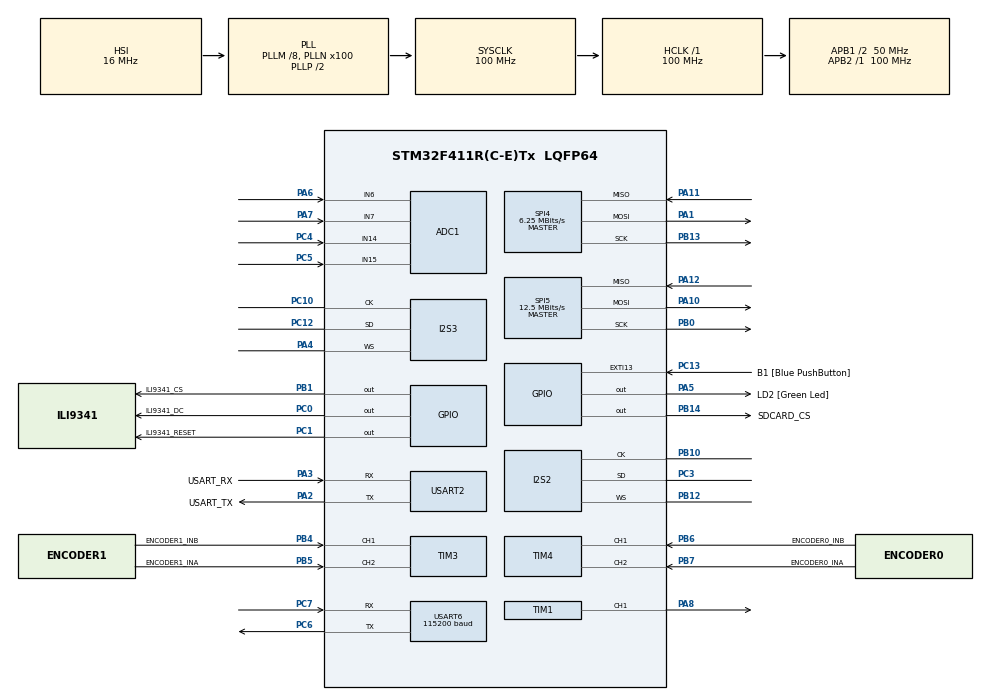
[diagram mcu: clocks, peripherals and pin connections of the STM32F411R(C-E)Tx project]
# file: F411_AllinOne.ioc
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ADC1.Channel-0\#ChannelRegularConversion=ADC_CHANNEL_6
ADC1.Channel-1\#ChannelRegularConversion=ADC_CHANNEL_7
ADC1.Channel-2\#ChannelRegularConversion=ADC_CHANNEL_14
ADC1.Channel-3\#ChannelRegularConversion=ADC_CHANNEL_15
ADC1.EnableAnalogWatchDog=true
ADC1.NbrOfConversion=4
ADC1.NbrOfConversionFlag=1
ADC1.Rank-0\#ChannelRegularConversion=1
ADC1.Rank-1\#ChannelRegularConversion=2
ADC1.Rank-2\#ChannelRegularConversion=3
ADC1.Rank-3\#ChannelRegularConversion=4
ADC1.SamplingTime-0\#ChannelRegularConversion=ADC_SAMPLETIME_3CYCLES
ADC1.SamplingTime-1\#ChannelRegularConversion=ADC_SAMPLETIME_3CYCLES
ADC1.SamplingTime-2\#ChannelRegularConversion=ADC_SAMPLETIME_3CYCLES
ADC1.SamplingTime-3\#ChannelRegularConversion=ADC_SAMPLETIME_3CYCLES
ADC1.ScanConvMode=ENABLE
ADC1.WatchdogChannel=ADC_CHANNEL_6
ADC1.master=1
Dma.ADC1.1.Direction=DMA_PERIPH_TO_MEMORY
Dma.ADC1.1.FIFOMode=DMA_FIFOMODE_DISABLE
Dma.ADC1.1.Instance=DMA2_Stream0
Dma.ADC1.1.MemDataAlignment=DMA_MDATAALIGN_HALFWORD
Dma.ADC1.1.MemInc=DMA_MINC_ENABLE
Dma.ADC1.1.Mode=DMA_NORMAL
Dma.ADC1.1.PeriphDataAlignment=DMA_PDATAALIGN_HALFWORD
Dma.ADC1.1.PeriphInc=DMA_PINC_DISABLE
Dma.ADC1.1.Priority=DMA_PRIORITY_LOW
Dma.Request0=SPI2_RX
Dma.Request1=ADC1
Dma.SPI2_RX.0.Direction=DMA_PERIPH_TO_MEMORY
Dma.SPI2_RX.0.FIFOMode=DMA_FIFOMODE_DISABLE
Dma.SPI2_RX.0.Instance=DMA1_Stream3
Dma.SPI2_RX.0.MemDataAlignment=DMA_MDATAALIGN_WORD
Dma.SPI2_RX.0.MemInc=DMA_MINC_ENABLE
Dma.SPI2_RX.0.Mode=DMA_CIRCULAR
Dma.SPI2_RX.0.PeriphDataAlignment=DMA_PDATAALIGN_WORD
Dma.SPI2_RX.0.PeriphInc=DMA_PINC_DISABLE
Dma.SPI2_RX.0.Priority=DMA_PRIORITY_LOW
FATFS._MAX_SS=4096
FATFS._USE_LFN=1
I2S2.AudioFreq=I2S_AUDIOFREQ_16K
I2S2.DataFormat=I2S_DATAFORMAT_24B
I2S2.ErrorAudioFreq=-0.26 %
I2S2.FullDuplexMode=I2S_FULLDUPLEXMODE_DISABLE
I2S2.Instance=SPI$Index
I2S2.Mode=I2S_MODE_MASTER_RX
I2S2.RealAudioFreq=15.957 KHz
I2S2.VirtualMode=I2S_MODE_MASTER
I2S3.AudioFreq=I2S_AUDIOFREQ_16K
I2S3.ErrorAudioFreq=-0.26 %
I2S3.FullDuplexMode=I2S_FULLDUPLEXMODE_DISABLE
I2S3.Instance=SPI$Index
I2S3.RealAudioFreq=15.957 KHz
I2S3.VirtualMode=I2S_MODE_MASTER
Mcu.Family=STM32F4
Mcu.Name=STM32F411R(C-E)Tx
Mcu.Package=LQFP64
NVIC.DMA1_Stream3_IRQn=true\:0\:0\:false\:false\:true\:false\:true\:true
NVIC.DMA2_Stream0_IRQn=true\:0\:0\:false\:false\:true\:false\:true\:true
NVIC.EXTI15_10_IRQn=true\:0\:0\:false\:false\:true\:true\:true\:true
NVIC.PriorityGroup=NVIC_PRIORITYGROUP_0
NVIC.TIM1_UP_TIM10_IRQn=true\:0\:0\:false\:false\:true\:true\:true\:true
NVIC.TIM2_IRQn=true\:0\:0\:false\:false\:true\:true\:true\:true
NVIC.USART6_IRQn=true\:0\:0\:false\:false\:true\:true\:true\:true
PA1.Mode=Full_Duplex_Master
PA1.Signal=SPI4_MOSI
PA10.Mode=Full_Duplex_Master
PA10.Signal=SPI5_MOSI
PA11.Mode=Full_Duplex_Master
PA11.Signal=SPI4_MISO
PA12.Mode=Full_Duplex_Master
PA12.Signal=SPI5_MISO
PA13.GPIO_Label=TMS
PA13.Mode=Serial_Wire
PA13.Signal=SYS_JTMS-SWDIO
PA14.GPIO_Label=TCK
PA14.Mode=Serial_Wire
PA14.Signal=SYS_JTCK-SWCLK
PA2.GPIO_Label=USART_TX
PA2.Mode=Asynchronous
PA2.Signal=USART2_TX
PA3.GPIO_Label=USART_RX
PA3.Mode=Asynchronous
PA3.Signal=USART2_RX
PA4.Mode=Half_Duplex_Master
PA4.Signal=I2S3_WS
PA5.GPIO_Label=LD2 [Green Led]
PA5.Signal=GPIO_Output
PA6.Signal=ADCx_IN6
PA7.Signal=ADCx_IN7
PA8.Signal=S_TIM1_CH1
PB0.Mode=Full_Duplex_Master
PB0.Signal=SPI5_SCK
PB1.GPIO_Label=ILI9341_CS
PB1.PinState=GPIO_PIN_SET
PB1.Signal=GPIO_Output
PB10.Mode=Half_Duplex_Master
PB10.Signal=I2S2_CK
PB12.Mode=Half_Duplex_Master
PB12.Signal=I2S2_WS
PB13.Mode=Full_Duplex_Master
PB13.Signal=SPI4_SCK
PB14.GPIO_Label=SDCARD_CS
PB14.PinState=GPIO_PIN_SET
PB14.Signal=GPIO_Output
PB3.GPIO_Label=SWO
PB3.Signal=SYS_JTDO-SWO
PB4.GPIO_Label=ENCODER1_INB
PB4.Signal=S_TIM3_CH1
PB5.GPIO_Label=ENCODER1_INA
PB5.Signal=S_TIM3_CH2
PB6.GPIO_Label=ENCODER0_INB
PB6.Signal=S_TIM4_CH1
PB7.GPIO_Label=ENCODER0_INA
PB7.Signal=S_TIM4_CH2
PC0.GPIO_Label=ILI9341_DC
PC0.Signal=GPIO_Output
PC1.GPIO_Label=ILI9341_RESET
PC1.Signal=GPIO_Output
PC10.Mode=Half_Duplex_Master
PC10.Signal=I2S3_CK
PC12.Mode=Half_Duplex_Master
PC12.Signal=I2S3_SD
PC13-ANTI_TAMP.GPIO_Label=B1 [Blue PushButton]
PC13-ANTI_TAMP.GPIO_ModeDefaultEXTI=GPIO_MODE_IT_FALLING
PC13-ANTI_TAMP.Signal=GPXTI13
PC14-OSC32_IN.Mode=LSE-External-Oscillator
PC14-OSC32_IN.Signal=RCC_OSC32_IN
PC15-OSC32_OUT.Mode=LSE-External-Oscillator
PC15-OSC32_OUT.Signal=RCC_OSC32_OUT
PC3.Mode=Half_Duplex_Master
PC3.Signal=I2S2_SD
PC4.Signal=ADCx_IN14
PC5.Signal=ADCx_IN15
PC6.Mode=Asynchronous
PC6.Signal=USART6_TX
PC7.Mode=Asynchronous
PC7.Signal=USART6_RX
PH0\ -\ OSC_IN.Mode=HSE-External-Clock-Source
PH0\ -\ OSC_IN.Signal=RCC_OSC_IN
PH1\ -\ OSC_OUT.Mode=HSE-External-Clock-Source
PH1\ -\ OSC_OUT.Signal=RCC_OSC_OUT
ProjectManager.HeapSize=0x800
ProjectManager.StackSize=0x800
ProjectManager.TargetToolchain=STM32CubeIDE
RCC.48MHZClocksFreq_Value=28571428.57142857
RCC.AHBFreq_Value=100000000
RCC.APB1CLKDivider=RCC_HCLK_DIV2
RCC.APB1Freq_Value=50000000
RCC.APB1TimFreq_Value=100000000
RCC.APB2Freq_Value=100000000
RCC.APB2TimFreq_Value=100000000
RCC.CortexFreq_Value=100000000
RCC.FLatency-AdvancedSettings=FLASH_LATENCY_3
RCC.HCLKFreq_Value=100000000
RCC.HSE_VALUE=8000000
RCC.HSI_VALUE=16000000
RCC.PLLM=8
RCC.PLLMUL=RCC_PLL_MUL9
RCC.PLLN=100
RCC.PLLQ=7
RCC.RCC_PLLsource_Clock_Source_FROM_HSE=RCC_HSE_PREDIV_DIV2
RCC.SYSCLKFreq_VALUE=100000000
RCC.SYSCLKSource=RCC_SYSCLKSOURCE_PLLCLK
RCC.SYSCLKSourceVirtual=RCC_SYSCLKSOURCE_PLLCLK
RCC.VCOOutputFreq_Value=200000000
SH.ADCx_IN14.0=ADC1_IN14,IN14
SH.ADCx_IN15.0=ADC1_IN15,IN15
SH.ADCx_IN6.0=ADC1_IN6,IN6
SH.ADCx_IN7.0=ADC1_IN7,IN7
SH.S_TIM1_CH1.0=TIM1_CH1,PWM Generation1 CH1
SH.S_TIM3_CH1.0=TIM3_CH1,Encoder_Interface
SH.S_TIM3_CH2.0=TIM3_CH2,Encoder_Interface
SH.S_TIM4_CH1.0=TIM4_CH1,Encoder_Interface
SH.S_TIM4_CH2.0=TIM4_CH2,Encoder_Interface
SPI4.BaudRatePrescaler=SPI_BAUDRATEPRESCALER_16
SPI4.CalculateBaudRate=6.25 MBits/s
SPI4.Direction=SPI_DIRECTION_2LINES
SPI4.Mode=SPI_MODE_MASTER
SPI4.VirtualType=VM_MASTER
SPI5.BaudRatePrescaler=SPI_BAUDRATEPRESCALER_8
SPI5.CalculateBaudRate=12.5 MBits/s
SPI5.Direction=SPI_DIRECTION_2LINES
SPI5.Mode=SPI_MODE_MASTER
SPI5.VirtualType=VM_MASTER
STMicroelectronics.X-CUBE-AI.10.2.0.ActivationBufferSizeList=2676
STMicroelectronics.X-CUBE-AI.10.2.0.ActivationBuffers=NULL
STMicroelectronics.X-CUBE-AI.10.2.0.HeapSize=0x800
STMicroelectronics.X-CUBE-AI.10.2.0.InternalRamActivationBufferMaxSize=AI_NETWORK_1754532848284_DATA_ACTIVATIONS_SIZE
STMicroelectronics.X-CUBE-AI.10.2.0.LatestDirectoryUsed-c312f060511643492c0cf235e68c8f3fd7d584fa476fa2af0e574bf5eae4642f=D\:\\Work_202506\\Git\\PY_Audio
STMicroelectronics.X-CUBE-AI.10.2.0.MaximumNumberOfInputLayer=1
STMicroelectronics.X-CUBE-AI.10.2.0.MaximumNumberOfOutputLayer=1
STMicroelectronics.X-CUBE-AI.10.2.0.MaximumSizeOfInputLayer=1
STMicroelectronics.X-CUBE-AI.10.2.0.MaximumSizeOfOutputLayer=1
STMicroelectronics.X-CUBE-AI.10.2.0.ModelActualCompression-c312f060511643492c0cf235e68c8f3fd7d584fa476fa2af0e574bf5eae4642f=0.0
STMicroelectronics.X-CUBE-AI.10.2.0.ModelCompression-c312f060511643492c0cf235e68c8f3fd7d584fa476fa2af0e574bf5eae4642f=None
STMicroelectronics.X-CUBE-AI.10.2.0.ModelFlashOccupation-c312f060511643492c0cf235e68c8f3fd7d584fa476fa2af0e574bf5eae4642f=16016
STMicroelectronics.X-CUBE-AI.10.2.0.ModelHashList=c312f060511643492c0cf235e68c8f3fd7d584fa476fa2af0e574bf5eae4642f
STMicroelectronics.X-CUBE-AI.10.2.0.ModelKind-c312f060511643492c0cf235e68c8f3fd7d584fa476fa2af0e574bf5eae4642f=TFLITE
STMicroelectronics.X-CUBE-AI.10.2.0.ModelMacc-c312f060511643492c0cf235e68c8f3fd7d584fa476fa2af0e574bf5eae4642f=1328
STMicroelectronics.X-CUBE-AI.10.2.0.ModelName-c312f060511643492c0cf235e68c8f3fd7d584fa476fa2af0e574bf5eae4642f=network_1754532848284
STMicroelectronics.X-CUBE-AI.10.2.0.ModelNameList=network_1754532848284
STMicroelectronics.X-CUBE-AI.10.2.0.ModelRamOccupation-c312f060511643492c0cf235e68c8f3fd7d584fa476fa2af0e574bf5eae4642f=2676
STMicroelectronics.X-CUBE-AI.10.2.0.ModelStructureFile-c312f060511643492c0cf235e68c8f3fd7d584fa476fa2af0e574bf5eae4642f=D\:\\Work_202506\\Git\\PY_Audio\\score_model.tflite
STMicroelectronics.X-CUBE-AI.10.2.0.ModelType-c312f060511643492c0cf235e68c8f3fd7d584fa476fa2af0e574bf5eae4642f=STM32Cube.AI MCU runtime
STMicroelectronics.X-CUBE-AI.10.2.0.ReadyForCodeGeneration=true
STMicroelectronics.X-CUBE-AI.10.2.0.StackSize=0x800
STMicroelectronics.X-CUBE-AI.10.2.0.WorkingBufferStartAddrList=0xFFFFFFFF
STMicroelectronics.X-CUBE-AI.10.2.0.copyWeightToRam-c312f060511643492c0cf235e68c8f3fd7d584fa476fa2af0e574bf5eae4642f=false
STMicroelectronics.X-CUBE-AI.10.2.0.customLayerConfigEnabled-c312f060511643492c0cf235e68c8f3fd7d584fa476fa2af0e574bf5eae4642f=false
STMicroelectronics.X-CUBE-AI.10.2.0.noOnnxIoTranspose-c312f060511643492c0cf235e68c8f3fd7d584fa476fa2af0e574bf5eae4642f=false
STMicroelectronics.X-CUBE-AI.10.2.0.useInputAllocation-c312f060511643492c0cf235e68c8f3fd7d584fa476fa2af0e574bf5eae4642f=true
STMicroelectronics.X-CUBE-AI.10.2.0.useOutputAllocation-c312f060511643492c0cf235e68c8f3fd7d584fa476fa2af0e574bf5eae4642f=true
TIM1.Channel-PWM\ Generation1\ CH1=TIM_CHANNEL_1
TIM1.Period=1000-1
TIM1.Prescaler=100-1
TIM1.Pulse-PWM\ Generation1\ CH1=500
TIM10.Period=288-1
TIM2.Period=32-1
TIM2.Prescaler=100-1
USART2.VirtualMode=VM_ASYNC
USART6.BaudRate=115200
USART6.VirtualMode=VM_ASYNC
VP_CRC_VS_CRC.Mode=CRC_Activate
VP_FATFS_VS_Generic.Mode=User_defined
VP_TIM10_VS_ClockSourceINT.Mode=Enable_Timer
VP_TIM1_VS_ClockSourceINT.Mode=Internal
VP_TIM2_VS_ClockSourceINT.Mode=Internal
board=NUCLEO-F411RE

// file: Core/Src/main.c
/* USER CODE BEGIN Header */
/**
  ******************************************************************************
  * @file           : main.c
  * @brief          : Main program body
  ******************************************************************************
  * @attention
  *
  * Copyright (c) 2025 STMicroelectronics.
  * All rights reserved.
  *
  * This software is licensed under terms that can be found in the LICENSE file
  * in the root directory of this software component.
  * If no LICENSE file comes with this software, it is provided AS-IS.
  *
  ******************************************************************************
  */
/* USER CODE END Header */
#include "main.h"
#include "adc.h"
#include "crc.h"
#include "dma.h"
#include "fatfs.h"
#include "i2s.h"
#include "spi.h"
#include "tim.h"
#include "usart.h"
#include "gpio.h"

/* USER CODE BEGIN Includes */
#include <stdio.h>
#include <stdlib.h>  // 用於 rand() 隨機數
#include <sys/unistd.h>
//#include "app_x-cube-ai.h"
#include <stdbool.h> // <-- 請在這裡加入這一行
#include "helloworld.h"

#include "ili9341.h"
#include "oscilloscope.h"
#include "fatfs.h"
/* USER CODE END Includes */

/* USER CODE BEGIN PD */
#define DWT_CONTROL *(volatile unsigned long *)0xE0001000
#define SCB_DEMCR   *(volatile unsigned long *)0xE000EDFC
/* USER CODE END PD */

/* USER CODE BEGIN PM */
FATFS fs;
FATFS *pfs;
FIL fil;
FRESULT fres;
DWORD fre_clust;
uint32_t totalSpace, freeSpace;
char buffer[100];
/* USER CODE END PM */

/* USER CODE BEGIN PV */
ILI9341TypeDef display;
/* USER CODE END PV */

void SystemClock_Config(void);
void PeriphCommonClock_Config(void);

/* USER CODE BEGIN 0 */
// 讓 printf 可以透過 UART2 輸出，方便除錯
//#ifdef __GNUC__
//#define PUTCHAR_PROTOTYPE int __io_putchar(int ch)
//#else
//#define PUTCHAR_PROTOTYPE int fputc(int ch, FILE *f)
//#endif
//
//PUTCHAR_PROTOTYPE
//{
//  HAL_UART_Transmit(&huart6, (uint8_t *)&ch, 1, HAL_MAX_DELAY);
//  return ch;
//}
//
//int _write(int file, char *ptr, int len)
//{
//    HAL_UART_Transmit(&huart6, (uint8_t*)ptr, len, 100);
//    return len;
//}

#define I2S_BUFFER_SIZE 4//2048 // 緩衝區大小，需要根據模型要求調整

// 定義一個32位元的緩衝區來接收 I2S 資料 (24-bit data in 32-bit frame)
uint32_t i2s_rx_buffer[I2S_BUFFER_SIZE];
// 用於標示哪個緩衝區已滿可以處理
volatile int buffer_is_ready = 0;

unsigned cb_cnt=0;
uint32_t val24;
int val32;

/**
  * @brief  I2S 接收半滿回呼函式
  * @param  hi2s: I2S handle
  * @retval None
  */
void HAL_I2S_RxHalfCpltCallback(I2S_HandleTypeDef *hi2s)
{
  // DMA 已經填充完緩衝區的前半部分
  // 在這裡呼叫語音辨識函式，處理前半段的資料
  // speech_recognition_run(&i2s_rx_buffer[0], I2S_BUFFER_SIZE / 2);
  buffer_is_ready = 1; // 示意：設定旗標
	if(hi2s==&hi2s2){
		cb_cnt++;//回调次数计数
		//将两个32整型合并为一个
		//dat32 example: 0000fffb 00004f00
		//printf("%x\r\n",data_i2s[0]<<8);
		//printf("%x\r\n",data_i2s[1]>>8);

		val24=(i2s_rx_buffer[0]<<8)+(i2s_rx_buffer[1]>>8);
		//printf("%d\r\n",val24);
      //将24位有符号整型扩展到32位
		if(val24 & 0x800000)
		{//negative
			val32=0xff000000 | val24;
		}
		else
		{//positive
			val32=val24;
		}
		//以采样频率的十分之一，串口发送采样值
		if(cb_cnt%10==0)
			printf("%d\r\n",val32);
	}
}

/**
  * @brief  I2S 接收全滿回呼函式
  * @param  hi2s: I2S handle
  * @retval None
  */
void HAL_I2S_RxCpltCallback(I2S_HandleTypeDef *hi2s)
{
  // DMA 已經填充完緩衝區的後半部分
  // 在這裡呼叫語音辨識函式，處理後半段的資料
  // speech_recognition_run(&i2s_rx_buffer[I2S_BUFFER_SIZE / 2], I2S_BUFFER_SIZE / 2);
  buffer_is_ready = 2; // 示意：設定旗標
	if(hi2s==&hi2s2){
		cb_cnt++;//回调次数计数
		//将两个32整型合并为一个
		//dat32 example: 0000fffb 00004f00
		//printf("%x\r\n",data_i2s[0]<<8);
		//printf("%x\r\n",data_i2s[1]>>8);

		val24=(i2s_rx_buffer[0]<<8)+(i2s_rx_buffer[1]>>8);
		//printf("%d\r\n",val24);
      //将24位有符号整型扩展到32位
		if(val24 & 0x800000)
		{//negative
			val32=0xff000000 | val24;
		}
		else
		{//positive
			val32=val24;
		}
		//以采样频率的十分之一，串口发送采样值
		if(cb_cnt%10==0)
			printf("%d\r\n",val32);
	}
}

// 假設這是一個讀取感測器數據的函式 (您需要自己實現)
float get_sensor_reading(void)
{
    // 在這裡填寫您獲取真實數據的程式碼
    // 例如：從 ADC 讀取數據並轉換成浮點數
    // 此處僅為範例，回傳一個隨機變化的值
    return 150.0f + (float)(rand() % 50);
}

// --- UART 接收相關變數 ---
#define UART_RX_BUFFER_SIZE 10
uint8_t uart_rx_buffer[UART_RX_BUFFER_SIZE]; // 用於儲存從 UART 收到的原始字元
uint8_t rx_byte; // 用於 HAL 函式，儲存單個接收位元組

volatile uint8_t uart_rx_index = 0; // 目前接收到緩衝區的位置
volatile bool new_data_received = false; // 新數據接收完成的旗標

// --- AI 推論相關變數 ---
// 這個變數將連接 main.c 和 app_x-cube-ai.c
int score_from_uart = 0;

void HAL_UART_RxCpltCallback(UART_HandleTypeDef *huart)
{
  // 確保是我們想要的 UART (例如 USART2) 觸發的中斷
  if (huart->Instance == USART6)
  {
    // 檢查是否是換行符 (Enter 鍵)，或者緩衝區是否已滿
    if (rx_byte == '\r' || rx_byte == '\n' || uart_rx_index >= (UART_RX_BUFFER_SIZE - 1))
    {
      // 1. 在字串末尾加上結束符 '\0'
      uart_rx_buffer[uart_rx_index] = '\0';

      // 2. 設定新數據旗標，通知主迴圈處理
      if (uart_rx_index > 0) // 確保不是空指令
      {
        new_data_received = true;
      }

      // 3. 重置索引，準備下一次接收
      uart_rx_index = 0;
    }
    else
    {
      // 將收到的位元組存入緩衝區，並移動索引
      uart_rx_buffer[uart_rx_index++] = rx_byte;
    }

    // !!! 非常重要：重新啟動 UART 中斷接收，準備接收下一個位元組 !!!
    HAL_UART_Receive_IT(&huart6, &rx_byte, 1);
  }
}

uint16_t txData;
int txIndex;
void HAL_TIM_PeriodElapsedCallback(TIM_HandleTypeDef *htim)
{
  if(htim->Instance == TIM2)
  {
    txData = ((uint16_t)helloworld[txIndex+1] << 8) | helloworld[txIndex];
    txIndex = txIndex + 2;
    if(txIndex>53456) txIndex = 0;
    HAL_I2S_Transmit(&hi2s3, &txData, 1, 10);
  }

	if(htim->Instance == TIM10)
	{
		if (adc_available) {
			adc_available = 0;
			HAL_ADC_Start_DMA(&hadc1, (uint32_t*)&adc_data, 2);
		}
	}
}

void HAL_ADC_ConvCpltCallback(ADC_HandleTypeDef* hadc)
{
    if(hadc->Instance == ADC1)
    {
    	if (adc_reset_cyccnt) {
    		DWT->CYCCNT = 0U;
    		adc0_time_delta = 0;
    		adc1_time_delta = 0;
    		adc_reset_cyccnt = 0;
    	}

    	if (!adc0_filled) {
			adc0_time[adc0_length] = (DWT->CYCCNT - adc0_time_delta) / (SystemCoreClock / 1000000);
			adc0[adc0_length] = adc_data[0] * ADC_CHANNEL0_SCALE;

			if (adc_max[0] < adc0[adc0_length])
				adc_max[0] = adc0[adc0_length];

			if (adc_min[0] > adc0[adc0_length])
				adc_min[0] = adc0[adc0_length];

			if (adc0_length < (ADC_BUFFER_SIZE - 1)) {

				uint8_t trigger = 0;

				if (trigger_mode == 0)
					trigger = (adc0_prev < trigger0_value && adc0[adc0_length] > trigger0_value);
				else
					trigger = (adc0_prev > trigger0_value && adc0[adc0_length] < trigger0_value);

				if (trigger && adc0_length != 0) {
					if (!event_trigger0_detected) {
						adc0_length = 0;
						adc0_time_delta = DWT->CYCCNT;
						event_trigger0_detected = 1;
					} else if (!adc_period0_detected) {
						adc_period[0] = adc0_time[adc0_length];
						adc_period0_detected = 1;
					}
				}

				adc0_prev = adc_data[0] * ADC_CHANNEL0_SCALE;
				adc0_length++;

			} else
				adc0_filled = 1;
    	}

    	if (!adc1_filled) {
			adc1_time[adc1_length] = (DWT->CYCCNT - adc1_time_delta) / (SystemCoreClock / 1000000);
			adc1[adc1_length] = adc_data[1] * ADC_CHANNEL1_SCALE;

			if (adc_max[1] < adc1[adc1_length])
				adc_max[1] = adc1[adc1_length];

			if (adc_min[1] > adc1[adc1_length])
				adc_min[1] = adc1[adc1_length];

			if (adc1_length < (ADC_BUFFER_SIZE - 1)) {

				uint8_t trigger = 0;

				if (trigger_mode == 0)
					trigger = (adc1_prev < trigger1_value && adc1[adc1_length] > trigger1_value);
				else
					trigger = (adc1_prev > trigger1_value && adc1[adc1_length] < trigger1_value);

				if (trigger && adc1_length != 0) {
					if (!event_trigger1_detected) {
						adc1_length = 0;
						adc1_time_delta = DWT->CYCCNT;
						event_trigger1_detected = 1;
					} else if (!adc_period1_detected) {
						adc_period[1] = adc1_time[adc1_length];
						adc_period1_detected = 1;
					}
				}

				adc1_prev = adc_data[1] * ADC_CHANNEL1_SCALE;
				adc1_length++;

			} else
				adc1_filled = 1;
    	}

		if (adc0_filled && adc1_filled) {
			event_adc = 1;

	    	if (!adc_immediate) {
				HAL_TIM_Base_Stop_IT(&htim10);
				adc_available = 1;
	    	}

    		return;
		}

		if (adc_immediate)
			HAL_ADC_Start_DMA(&hadc1, (uint32_t*)&adc_data, 2);
		else
			adc_available = 1;
    }
}

/* 定義測試用變量 */
FATFS fs;           // FatFs檔案系統物件
FIL fil;           // 檔案物件
FRESULT fres;      // FatFs返回值
UINT br, bw;       // 檔案讀寫計數

/* 測試用的簡單字符串 */
char writeText[] = "Hello SD Card!";    // 要寫入的文字
char readText[20];                      // 讀取緩衝區
void SD_Test(void)
{
    char test_data[] = "SD Card Test Data";
    char read_data[30] = {0};

    // 1. 初始化並掛載文件系統
    printf("Initializing SD card...\r\n");
    fres = f_mount(&fs, "", 1);
    if(fres != FR_OK)
    {
        printf("f_mount error (%i)\r\n", fres);
        return;
    }
    printf("SD card mounted successfully!\r\n");

    // 2. 寫入測試
    printf("Writing test data...\r\n");
    fres = f_open(&fil, "test.txt", FA_WRITE | FA_CREATE_ALWAYS);
    if(fres != FR_OK)
    {
        printf("f_open error (%i)\r\n", fres);
        return;
    }

    fres = f_write(&fil, test_data, strlen(test_data), &bw);
    if(fres != FR_OK)
    {
        printf("f_write error (%i)\r\n", fres);
        f_close(&fil);
        return;
    }
    f_close(&fil);
    printf("Test data written successfully!\r\n");

    // 3. 讀取測試
    printf("Reading test data...\r\n");
    fres = f_open(&fil, "test.txt", FA_READ);
    if(fres != FR_OK)
    {
        printf("f_open error (%i)\r\n", fres);
        return;
    }

    f_read(&fil, read_data, strlen(test_data), &br);
    f_close(&fil);

    // 4. 驗證數據
    if(strcmp(test_data, read_data) == 0)
    {
        printf("Test passed! Read data: %s\r\n", read_data);
    }
    else
    {
        printf("Test failed!\r\n");
        printf("Expected: %s\r\n", test_data);
        printf("Got: %s\r\n", read_data);
    }
}

void _Error_Handler(char * file, int line)
{
  /* USER CODE BEGIN Error_Handler_Debug */
  /* User can add his own implementation to report the HAL error return state */
  while(1)
  {
  }
  /* USER CODE END Error_Handler_Debug */
}

/* USER CODE END 0 */

int main(void)
{

  /* MCU Configuration--------------------------------------------------------*/

  /* Reset of all peripherals, Initializes the Flash interface and the Systick. */
  HAL_Init();

  /* Configure the system clock */
  SystemClock_Config();

  /* Configure the peripherals common clocks */
  PeriphCommonClock_Config();

  /* Initialize all configured peripherals */
  MX_GPIO_Init();
  MX_DMA_Init();
  MX_USART2_UART_Init();
  MX_I2S2_Init();
  MX_USART6_UART_Init();
  MX_CRC_Init();
  MX_I2S3_Init();
  MX_TIM2_Init();
  MX_SPI5_Init();
  MX_TIM1_Init();
  MX_ADC1_Init();
  MX_FATFS_Init();
  MX_SPI4_Init();
  MX_TIM10_Init();
  MX_TIM3_Init();
  MX_TIM4_Init();
  /* USER CODE BEGIN 2 */
  //while(1)
  {
  printf("Starting SD card test...\r\n");
  SD_Test();
  HAL_Delay(1000); // 等待1秒鐘

  }
#if 1
	/* Mount SD Card */
	if(f_mount(&fs, "", 0) != FR_OK)
		_Error_Handler(__FILE__, __LINE__);

	/* Open file to write */
	if(f_open(&fil, "first.txt", FA_OPEN_ALWAYS | FA_READ | FA_WRITE) != FR_OK)
		_Error_Handler(__FILE__, __LINE__);

	/* Check freeSpace space */
	if(f_getfree("", &fre_clust, &pfs) != FR_OK)
		_Error_Handler(__FILE__, __LINE__);

	totalSpace = (uint32_t)((pfs->n_fatent - 2) * pfs->csize * 0.5);
	freeSpace = (uint32_t)(fre_clust * pfs->csize * 0.5);

	/* free space is less than 1kb */
	if(freeSpace < 1)
		_Error_Handler(__FILE__, __LINE__);

	/* Writing text */
	f_puts("STM32 SD Card I/O Example via SPI\n", &fil);
	f_puts("Save the world!!!", &fil);

	/* Close file */
	if(f_close(&fil) != FR_OK)
		_Error_Handler(__FILE__, __LINE__);

	/* Open file to read */
	if(f_open(&fil, "first.txt", FA_READ) != FR_OK)
		_Error_Handler(__FILE__, __LINE__);

	while(f_gets(buffer, sizeof(buffer), &fil))
	{
		/* SWV output */
		printf("%s", buffer);
		fflush(stdout);
	}

	/* Close file */
	if(f_close(&fil) != FR_OK)
		_Error_Handler(__FILE__, __LINE__);

	/* Unmount SDCARD */
	if(f_mount(NULL, "", 1) != FR_OK)
		_Error_Handler(__FILE__, __LINE__);

	//while(1)
	  {

	  }
#endif

#if 0
  if (HAL_I2S_Receive_DMA(&hi2s2, (uint16_t *)i2s_rx_buffer, I2S_BUFFER_SIZE) != HAL_OK)
  {
      Error_Handler();
  }
#endif

  if (HAL_UART_Receive_IT(&huart6, &rx_byte, 1) != HAL_OK)
  {
      Error_Handler();
  }

  printf("AI Model Application Started...\r\n");

  txIndex = 0;

  // For DWT->CYCCNT ...
  SCB_DEMCR |= CoreDebug_DEMCR_TRCENA_Msk;
  DWT_CONTROL |= DWT_CTRL_CYCCNTENA_Msk;

  adc_reset_cyccnt = 1;
  if (adc_immediate)
  {
	  // The ADC starts immediately after the previous measurement is handled
	  HAL_ADC_Start_DMA(&hadc1, (uint32_t*)&adc_data, 2);
  }
  else
  {
	  // ADC starts by timer
	  HAL_TIM_Base_Start_IT(&htim10);
  }

  HAL_TIM_PWM_Start(&htim1, TIM_CHANNEL_1);

  InitOscState();
  /* USER CODE END 2 */

  /* Infinite loop */
  /* USER CODE BEGIN WHILE */

  while (1)
  {
	 if(HAL_GPIO_ReadPin(B1_GPIO_Port, B1_Pin) == GPIO_PIN_RESET)
	 {

		  HAL_TIM_Base_Start_IT(&htim2);
	 }
	 else
	 {
		  txIndex = 0;
		  HAL_TIM_Base_Stop_IT(&htim2);
	 }

	 Oscilloscope_Process();
    /* USER CODE END WHILE */

	  }
}

void SystemClock_Config(void)
{
  RCC_OscInitTypeDef RCC_OscInitStruct = {0};
  RCC_ClkInitTypeDef RCC_ClkInitStruct = {0};

  /** Configure the main internal regulator output voltage
  */
  __HAL_RCC_PWR_CLK_ENABLE();
  __HAL_PWR_VOLTAGESCALING_CONFIG(PWR_REGULATOR_VOLTAGE_SCALE1);

  /** Initializes the RCC Oscillators according to the specified parameters
  * in the RCC_OscInitTypeDef structure.
  */
  RCC_OscInitStruct.OscillatorType = RCC_OSCILLATORTYPE_HSI;
  RCC_OscInitStruct.HSIState = RCC_HSI_ON;
  RCC_OscInitStruct.HSICalibrationValue = RCC_HSICALIBRATION_DEFAULT;
  RCC_OscInitStruct.PLL.PLLState = RCC_PLL_ON;
  RCC_OscInitStruct.PLL.PLLSource = RCC_PLLSOURCE_HSI;
  RCC_OscInitStruct.PLL.PLLM = 8;
  RCC_OscInitStruct.PLL.PLLN = 100;
  RCC_OscInitStruct.PLL.PLLP = RCC_PLLP_DIV2;
  RCC_OscInitStruct.PLL.PLLQ = 7;
  if (HAL_RCC_OscConfig(&RCC_OscInitStruct) != HAL_OK)
  {
    Error_Handler();
  }

  /** Initializes the CPU, AHB and APB buses clocks
  */
  RCC_ClkInitStruct.ClockType = RCC_CLOCKTYPE_HCLK|RCC_CLOCKTYPE_SYSCLK
                              |RCC_CLOCKTYPE_PCLK1|RCC_CLOCKTYPE_PCLK2;
  RCC_ClkInitStruct.SYSCLKSource = RCC_SYSCLKSOURCE_PLLCLK;
  RCC_ClkInitStruct.AHBCLKDivider = RCC_SYSCLK_DIV1;
  RCC_ClkInitStruct.APB1CLKDivider = RCC_HCLK_DIV2;
  RCC_ClkInitStruct.APB2CLKDivider = RCC_HCLK_DIV1;

  if (HAL_RCC_ClockConfig(&RCC_ClkInitStruct, FLASH_LATENCY_3) != HAL_OK)
  {
    Error_Handler();
  }
}

void PeriphCommonClock_Config(void)
{
  RCC_PeriphCLKInitTypeDef PeriphClkInitStruct = {0};

  /** Initializes the peripherals clock
  */
  PeriphClkInitStruct.PeriphClockSelection = RCC_PERIPHCLK_I2S;
  PeriphClkInitStruct.PLLI2S.PLLI2SN = 192;
  PeriphClkInitStruct.PLLI2S.PLLI2SM = 16;
  PeriphClkInitStruct.PLLI2S.PLLI2SR = 2;
  if (HAL_RCCEx_PeriphCLKConfig(&PeriphClkInitStruct) != HAL_OK)
  {
    Error_Handler();
  }
}

void Error_Handler(void)
{
  while(1)
  {
  }
}
